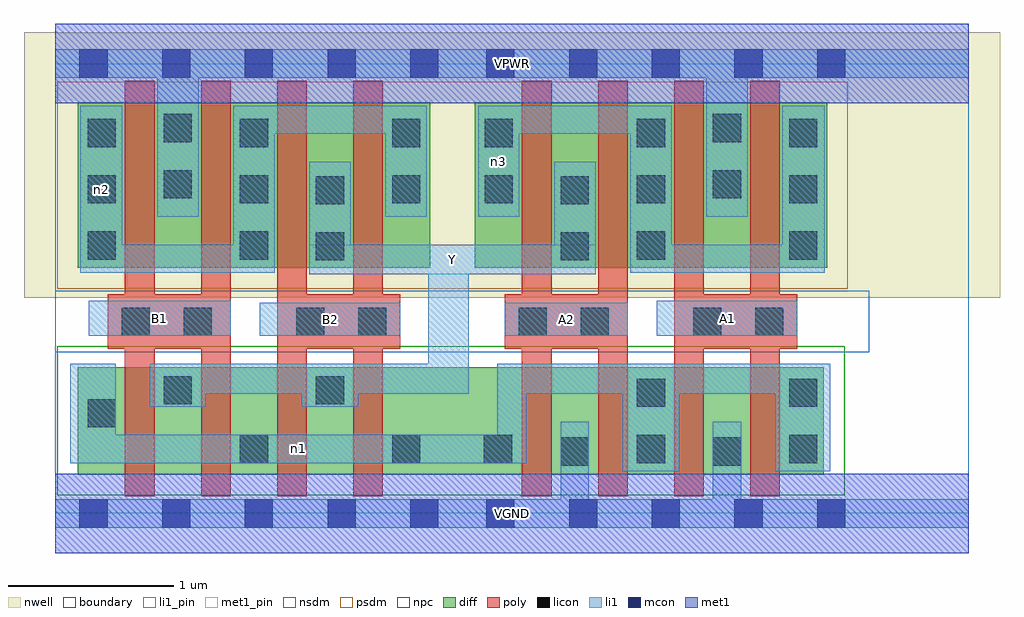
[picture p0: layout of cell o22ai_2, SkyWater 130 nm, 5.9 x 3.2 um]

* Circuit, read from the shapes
.subckt o22ai_2 A1 A2 B1 B2 VGND VPWR Y n1 n2 n3
XM1 Y B1 n1 VSUBS sky130_fd_pr__nfet_01v8 w=0.65 l=0.18 m=2
XM2 Y B2 n1 VSUBS sky130_fd_pr__nfet_01v8 w=0.65 l=0.18 m=2
XM3 VGND A2 n1 VSUBS sky130_fd_pr__nfet_01v8 w=0.65 l=0.18 m=2
XM4 VGND A1 n1 VSUBS sky130_fd_pr__nfet_01v8 w=0.65 l=0.18 m=2
XM5 VPWR B1 n2 n4 sky130_fd_pr__pfet_01v8 w=1 l=0.18 m=2
XM6 Y B2 n2 n4 sky130_fd_pr__pfet_01v8 w=1 l=0.18 m=2
XM7 Y A2 n3 n4 sky130_fd_pr__pfet_01v8 w=1 l=0.18 m=2
XM8 VPWR A1 n3 n4 sky130_fd_pr__pfet_01v8 w=1 l=0.18 m=2
.ends

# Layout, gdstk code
import gdstk
lib = gdstk.Library(unit=1e-6, precision=1e-09)
def R(c, l, rs):  # rectangles x0, y0, x1, y1
    for r in rs: c.add(gdstk.rectangle(r[:2], r[2:], *l))
def A(c, l, x, y, w, h, nx, ny, dx, dy):  # array of equal rectangles
    R(c, l, [(x+i*dx, y+j*dy, x+i*dx+w, y+j*dy+h) for i in range(nx) for j in range(ny)])
nwell = (64, 20)
diff = (65, 20)
poly = (66, 20)
licon = (66, 44)
li1_pin = (67, 16)
li1 = (67, 20)
mcon = (67, 44)
met1_pin = (68, 16)
met1 = (68, 20)
nsdm = (93, 44)
psdm = (94, 20)
npc = (95, 20)
boundary = (235, 4)

o22ai_2 = lib.new_cell('o22ai_2')
R(o22ai_2, nwell, [(-0.19,1.305,5.71,2.91), (0,1.305,5.52,2.91)])
R(o22ai_2, diff, [(0.135,0.235,4.645,0.885), (0.135,1.485,2.265,2.485), (2.535,1.485,4.665,2.485)])
A(o22ai_2, poly, 0.42, 0.105, 0.18, 2.51, 4, 1, 0.46, 0)
A(o22ai_2, poly, 2.82, 0.105, 0.18, 2.51, 4, 1, 0.46, 0)
R(o22ai_2, poly, [(0.315,0.995,1.06,1.325), (1.34,0.995,2.085,1.325), (2.715,0.995,3.46,1.325), (3.74,0.995,4.485,1.325)])
A(o22ai_2, licon, 0.195, 1.875, 0.17, 0.17, 3, 2, 0.92, 0.34)
A(o22ai_2, licon, 2.595, 1.875, 0.17, 0.17, 3, 2, 0.92, 0.34)
R(o22ai_2, licon, [(3.055,0.29,3.225,0.46), (3.975,0.29,4.145,0.46), (1.115,0.305,1.285,0.475), (2.035,0.305,2.205,0.475), (2.59,0.305,2.76,0.475), (3.515,0.305,3.685,0.475), (4.435,0.305,4.605,0.475), (0.195,0.52,0.365,0.69), (3.515,0.645,3.685,0.815), (4.435,0.645,4.605,0.815), (0.655,0.66,0.825,0.83), (1.575,0.66,1.745,0.83), (0.4,1.075,0.57,1.245), (0.775,1.075,0.945,1.245), (1.455,1.075,1.625,1.245), (1.83,1.075,2,1.245), (2.8,1.075,2.97,1.245), (3.175,1.075,3.345,1.245), (3.855,1.075,4.025,1.245), (4.23,1.075,4.4,1.245), (1.575,1.53,1.745,1.7), (3.055,1.53,3.225,1.7), (0.195,1.535,0.365,1.705), (1.115,1.535,1.285,1.705), (3.515,1.535,3.685,1.705), (4.435,1.535,4.605,1.705), (1.575,1.87,1.745,2.04), (3.055,1.87,3.225,2.04), (0.655,1.905,0.825,2.075), (3.975,1.905,4.145,2.075), (0.655,2.245,0.825,2.415), (3.975,2.245,4.145,2.415)])
R(o22ai_2, li1_pin, [(0.2,1.075,1.06,1.285), (1.235,1.075,2.085,1.275), (2.715,1.075,3.46,1.275), (3.635,1.075,4.485,1.285), (1.535,1.445,3.265,1.625)])
R(o22ai_2, li1, [(0,-0.085,5.52,0.085), (3.055,-0.085,3.225,0.555), (3.975,-0.085,4.145,0.555), (3.43,0.255,3.77,0.905), (4.35,0.255,4.685,0.905), (0.09,0.305,2.845,0.475), (0.09,0.305,0.365,0.905), (2.67,0.305,2.845,0.905), (0.57,0.645,0.91,0.905), (1.49,0.645,1.83,0.905), (0.57,0.725,2.5,0.905), (2.255,0.725,2.5,1.625), (2.67,0.725,4.685,0.905), (0.2,1.075,1.06,1.285), (1.235,1.075,2.085,1.275), (2.715,1.075,3.46,1.275), (3.635,1.075,4.485,1.285), (1.535,1.445,3.265,1.625), (1.535,1.445,1.785,2.125), (3.015,1.445,3.265,2.125), (0.15,1.455,0.405,2.465), (0.15,1.455,1.325,1.625), (1.075,1.455,1.325,2.465), (3.475,1.455,4.65,1.625), (3.475,1.455,3.725,2.465), (4.395,1.455,4.65,2.465), (0.615,1.795,0.865,2.805), (1.995,1.795,2.245,2.465), (2.555,1.795,2.805,2.465), (3.935,1.795,4.185,2.805), (1.075,2.295,2.245,2.465), (2.555,2.295,3.725,2.465), (0,2.635,5.52,2.805)])
A(o22ai_2, mcon, 0.145, -0.085, 0.17, 0.17, 5, 2, 0.5, 2.72)
A(o22ai_2, mcon, 2.605, -0.085, 0.17, 0.17, 5, 2, 0.5, 2.72)
R(o22ai_2, met1_pin, [(0,-0.24,5.52,0.24), (0,2.48,5.52,2.96)])
R(o22ai_2, met1, [(0,-0.24,5.52,0.24), (0,2.48,5.52,2.96)])
R(o22ai_2, nsdm, [(0.01,0.11,4.77,1.01)])
R(o22ai_2, psdm, [(0.01,1.36,4.79,2.61)])
R(o22ai_2, npc, [(0,0.975,4.92,1.345)])
R(o22ai_2, boundary, [(0,0,5.52,2.72)])
o22ai_2.add(gdstk.Label('A1', (4.06,1.18), layer=67, texttype=5))
o22ai_2.add(gdstk.Label('A2', (3.087,1.175), layer=67, texttype=5))
o22ai_2.add(gdstk.Label('B1', (0.63,1.18), layer=67, texttype=5))
o22ai_2.add(gdstk.Label('B2', (1.66,1.175), layer=67, texttype=5))
o22ai_2.add(gdstk.Label('Y', (2.4,1.535), layer=67, texttype=5))
o22ai_2.add(gdstk.Label('n1', (1.467,0.39), layer=67, texttype=5))
o22ai_2.add(gdstk.Label('n2', (0.277,1.96), layer=67, texttype=5))
o22ai_2.add(gdstk.Label('n3', (2.68,2.13), layer=67, texttype=5))
o22ai_2.add(gdstk.Label('VPWR', (2.76,2.72), layer=68, texttype=5))
o22ai_2.add(gdstk.Label('VGND', (2.76,0), layer=68, texttype=5))
o22ai_2.add(gdstk.Label('A1', (4.06,1.18), layer=67, texttype=16))
o22ai_2.add(gdstk.Label('A2', (3.087,1.175), layer=67, texttype=16))
o22ai_2.add(gdstk.Label('B1', (0.63,1.18), layer=67, texttype=16))
o22ai_2.add(gdstk.Label('B2', (1.66,1.175), layer=67, texttype=16))
o22ai_2.add(gdstk.Label('Y', (2.4,1.535), layer=67, texttype=16))
o22ai_2.add(gdstk.Label('VPWR', (2.76,2.72), layer=68, texttype=16))
o22ai_2.add(gdstk.Label('VGND', (2.76,0), layer=68, texttype=16))

lib.write_gds('o22ai_2.gds')
